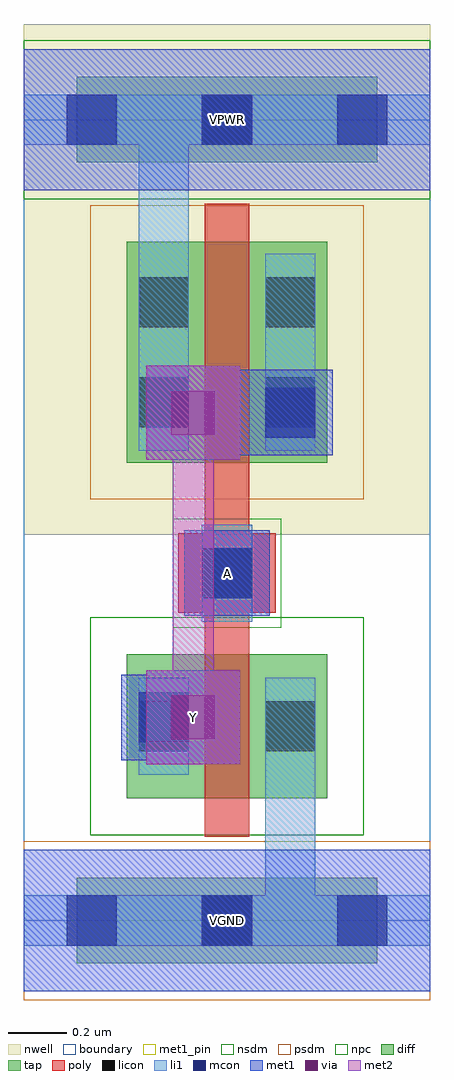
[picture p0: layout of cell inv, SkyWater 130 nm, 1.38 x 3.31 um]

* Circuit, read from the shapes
.subckt inv A VGND VPWR Y
XM1 VGND A Y VGND sky130_fd_pr__nfet_01v8 w=0.49 l=0.15
XM2 Y A VPWR VPWR sky130_fd_pr__pfet_01v8 w=0.75 l=0.15
.ends

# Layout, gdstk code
import gdstk
lib = gdstk.Library(unit=1e-6, precision=1e-09)
def R(c, l, rs):  # rectangles x0, y0, x1, y1
    for r in rs: c.add(gdstk.rectangle(r[:2], r[2:], *l))
def A(c, l, x, y, w, h, nx, ny, dx, dy):  # array of equal rectangles
    R(c, l, [(x+i*dx, y+j*dy, x+i*dx+w, y+j*dy+h) for i in range(nx) for j in range(ny)])
nwell = (64, 20)
diff = (65, 20)
tap = (65, 44)
poly = (66, 20)
licon = (66, 44)
li1 = (67, 20)
mcon = (67, 44)
met1_pin = (68, 16)
met1 = (68, 20)
via = (68, 44)
met2 = (69, 20)
nsdm = (93, 44)
psdm = (94, 20)
npc = (95, 20)
boundary = (235, 4)

inv = lib.new_cell('inv')
R(inv, nwell, [(0,1.31,1.38,3.045)])
R(inv, diff, [(0.35,0.415,1.03,0.905), (0.35,1.555,1.03,2.305)])
R(inv, tap, [(0.18,-0.145,1.2,0.145), (0.18,2.575,1.2,2.865)])
R(inv, poly, [(0.615,0.285,0.765,2.435), (0.525,1.045,0.855,1.315)])
R(inv, licon, [(0.605,-0.085,0.775,0.085), (0.39,0.575,0.56,0.745), (0.82,0.575,0.99,0.745), (0.605,1.095,0.775,1.265), (0.39,1.675,0.56,1.845), (0.82,1.675,0.99,1.845), (0.39,2.015,0.56,2.185), (0.82,2.015,0.99,2.185), (0.605,2.635,0.775,2.805)])
R(inv, li1, [(0,-0.085,1.38,0.085), (0.82,-0.085,0.99,0.825), (0.39,0.495,0.56,0.825), (0.82,0.495,0.99,0.825), (0.605,1.015,0.775,1.345), (0.39,1.595,0.56,2.265), (0.39,1.595,0.56,2.805), (0.82,1.595,0.99,2.265), (0,2.635,1.38,2.805)])
A(inv, mcon, 0.145, -0.085, 0.17, 0.17, 3, 2, 0.46, 2.72)
R(inv, mcon, [(0.39,0.605,0.56,0.775), (0.605,1.095,0.775,1.265), (0.82,1.64,0.99,1.81)])
R(inv, met1_pin, [(0,-0.24,1.38,0.24), (0.415,0.53,0.735,0.85), (0.545,1.035,0.835,1.325), (0,2.48,1.38,2.96)])
R(inv, met1, [(0,-0.24,1.38,0.24), (0.415,0.53,0.735,0.85), (0.33,0.545,0.62,0.835), (0.405,0.62,0.645,0.76), (0.545,1.035,0.835,1.325), (0.415,1.565,0.735,1.885), (0.735,1.58,0.76,1.87), (0.76,1.58,1.05,1.87), (0.505,1.655,0.875,1.795), (0.735,1.655,0.975,1.795), (0,2.48,1.38,2.96)])
R(inv, via, [(0.5,0.615,0.65,0.765), (0.5,1.65,0.65,1.8)])
R(inv, met2, [(0.415,0.53,0.735,0.85), (0.505,0.62,0.645,1.795), (0.415,1.565,0.735,1.885)])
R(inv, nsdm, [(0.225,0.29,1.155,1.03), (0,2.45,1.38,2.99)])
R(inv, psdm, [(0,-0.27,1.38,0.27), (0.225,1.43,1.155,2.43)])
R(inv, npc, [(0.505,0.995,0.875,1.365)])
R(inv, boundary, [(0,0,1.38,2.72)])
inv.add(gdstk.Label('A', (0.69,1.18), layer=68, texttype=5))
inv.add(gdstk.Label('Y', (0.575,0.69), layer=68, texttype=5))
inv.add(gdstk.Label('VPWR', (0.69,2.72), layer=68, texttype=5))
inv.add(gdstk.Label('VGND', (0.69,0), layer=68, texttype=5))
inv.add(gdstk.Label('A', (0.69,1.18), layer=68, texttype=16))
inv.add(gdstk.Label('Y', (0.575,0.69), layer=68, texttype=16))
inv.add(gdstk.Label('VPWR', (0.69,2.72), layer=68, texttype=16))
inv.add(gdstk.Label('VGND', (0.69,0), layer=68, texttype=16))

lib.write_gds('inv.gds')
